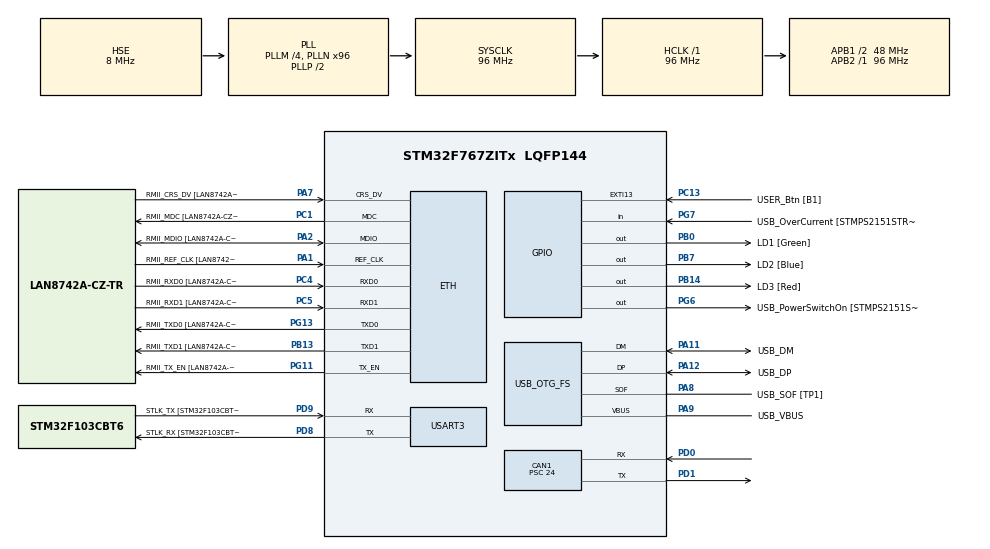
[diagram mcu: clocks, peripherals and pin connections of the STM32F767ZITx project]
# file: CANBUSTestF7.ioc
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Mcu.Family=STM32F7
RCC.CortexFreq_Value=96000000
PG6.Signal=GPIO_Output
PB14.GPIO_Label=LD3 [Red]
PG6.GPIO_Label=USB_PowerSwitchOn [STMPS2151STR_EN]
PA14.GPIO_Label=TCK
RCC.SYSCLKSourceVirtual=RCC_SYSCLKSOURCE_PLLCLK
PA11.Mode=Device_Only
PB0.GPIO_Label=LD1 [Green]
PC14/OSC32_IN.Mode=LSE-External-Oscillator
PC5.Mode=RMII
PC13.GPIO_Label=USER_Btn [B1]
PB13.GPIO_Label=RMII_TXD1 [LAN8742A-CZ-TR_TXD1]
PB13.Signal=ETH_TXD1
PG13.Signal=ETH_TXD0
PD9.Mode=Asynchronous
PG11.Signal=ETH_TX_EN
RCC.SYSCLKSource=RCC_SYSCLKSOURCE_PLLCLK
ProjectManager.StackSize=0x400
USART3.VirtualMode-Asynchronous=VM_ASYNC
PA12.Signal=USB_OTG_FS_DP
ETH.PHY_Value=0
PH0/OSC_IN.Mode=HSE-External-Clock-Source
RCC.HCLKFreq_Value=96000000
RCC.APB2TimFreq_Value=96000000
PH1/OSC_OUT.Signal=RCC_OSC_OUT
PD0.Signal=CAN1_RX
PD8.Signal=USART3_TX
RCC.AHBFreq_Value=96000000
RCC.HSE_VALUE=8000000
RCC.PLLMUL=RCC_PLL_MUL9
PC4.GPIO_Label=RMII_RXD0 [LAN8742A-CZ-TR_RXD0]
PA14.Mode=Serial_Wire
NVIC.TIM2_IRQn=true\:0\:0\:false\:false\:true\:true\:true
PA10.GPIO_Label=USB_ID
PB7.Signal=GPIO_Output
PA8.Signal=USB_OTG_FS_SOF
PG13.Mode=RMII
ETH.PHY_Name=LAN8742A_PHY_ADDRESS
PH1/OSC_OUT.Mode=HSE-External-Clock-Source
PB7.GPIO_Label=LD2 [Blue]
CAN1.Prescaler=24
Mcu.Package=LQFP144
TIM2.Prescaler=48000
PC14/OSC32_IN.Signal=RCC_OSC32_IN
PA2.GPIO_Label=RMII_MDIO [LAN8742A-CZ-TR_MDIO]
PA10.Signal=USB_OTG_FS_ID
USB_OTG_FS.VirtualMode=Device_Only
RCC.APB1TimFreq_Value=96000000
PG11.GPIO_Label=RMII_TX_EN [LAN8742A-CZ-TR_TXEN]
PC5.Signal=ETH_RXD1
PB13.Mode=RMII
PC4.Mode=RMII
CAN1.CalculateTimeQuantum=500.0
PB3.GPIO_Label=SWO
PA7.Mode=RMII
PG7.Signal=GPIO_Input
PD9.GPIO_Label=STLK_TX [STM32F103CBT6_PA2]
PC13.Signal=GPXTI13
PA9.GPIO_Label=USB_VBUS
PC4.Signal=ETH_RXD0
PD1.Signal=CAN1_TX
PA11.GPIO_Label=USB_DM
PD9.Signal=USART3_RX
RCC.APB1CLKDivider=RCC_HCLK_DIV2
PG13.GPIO_Label=RMII_TXD0 [LAN8742A-CZ-TR_TXD0]
ETH.PhyAddress=0
PA12.GPIO_Label=USB_DP
PD8.GPIO_Label=STLK_RX [STM32F103CBT6_PA3]
PA13.Signal=SYS_JTMS-SWDIO
PA9.Mode=Activate_VBUS
PA8.GPIO_Label=USB_SOF [TP1]
CAN1.BS2=CAN_BS2_4TQ
CAN1.BS1=CAN_BS1_11TQ
ProjectManager.TargetToolchain=TrueSTUDIO
PA9.Signal=USB_OTG_FS_VBUS
RCC.USBFreq_Value=48000000
PD8.Mode=Asynchronous
PA1.Signal=ETH_REF_CLK
PB14.Signal=GPIO_Output
board=NUCLEO-F767ZI
RCC.VCOOutputFreq_Value=192000000
PD1.Mode=Master
PH0/OSC_IN.Signal=RCC_OSC_IN
RCC.APB2Freq_Value=96000000
PA1.Mode=RMII
RCC.PRESCALERUSB=RCC_USBCLKSOURCE_PLL_DIV1_5
VP_TIM2_VS_ClockSourceINT.Mode=Internal
PG7.GPIO_Label=USB_OverCurrent [STMPS2151STR_FAULT]
PA1.GPIO_Label=RMII_REF_CLK [LAN8742A-CZ-TR_REFCLK0]
PC1.GPIO_Label=RMII_MDC [LAN8742A-CZ-TR_MDC]
TIM2.Period=1
PA13.Mode=Serial_Wire
Mcu.Name=STM32F767ZITx
PD0.Mode=Master
PA2.Signal=ETH_MDIO
PA13.GPIO_Label=TMS
CAN1.SJW=CAN_SJW_3TQ
RCC.48MHZClocksFreq_Value=24000000
PB3.Signal=SYS_JTDO-SWO
RCC.SYSCLKFreq_VALUE=96000000
ETH.MediaInterface=ETH_MEDIA_INTERFACE_RMII
PA7.GPIO_Label=RMII_CRS_DV [LAN8742A-CZ-TR_CRS_DV]
PA12.Mode=Device_Only
PC5.GPIO_Label=RMII_RXD1 [LAN8742A-CZ-TR_RXD1]
PC15/OSC32_OUT.Mode=LSE-External-Oscillator
PG11.Mode=RMII
PA11.Signal=USB_OTG_FS_DM
PA14.Signal=SYS_JTCK-SWCLK
ProjectManager.HeapSize=0x200
RCC.HSI_VALUE=16000000
PH0/OSC_IN.GPIO_Label=MCO [STM32F103CBT6_PA8]
RCC.PLLQ=4
NVIC.PriorityGroup=NVIC_PRIORITYGROUP_4
RCC.PLLM=4
RCC.PLLN=96
PA2.Mode=RMII
PC15/OSC32_OUT.Signal=RCC_OSC32_OUT
PA8.Mode=Activate_SOF_FS
RCC.APB1Freq_Value=48000000
PB0.Signal=GPIO_Output
PC1.Signal=ETH_MDC
NVIC.CAN1_RX0_IRQn=true\:0\:0\:false\:false\:true\:true\:true
PC1.Mode=RMII
PA7.Signal=ETH_CRS_DV

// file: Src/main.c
/* USER CODE BEGIN Header */
/**
  ******************************************************************************
  * @file           : main.c
  * @brief          : Main program body
  ******************************************************************************
  * @attention
  *
  * <h2><center>&copy; Copyright (c) 2020 STMicroelectronics.
  * All rights reserved.</center></h2>
  *
  * This software component is licensed by ST under BSD 3-Clause license,
  * the "License"; You may not use this file except in compliance with the
  * License. You may obtain a copy of the License at:
  *                        opensource.org/licenses/BSD-3-Clause
  *
  ******************************************************************************
  */
/* USER CODE END Header */

#include "main.h"

/* USER CODE BEGIN Includes */
#include "timeout.h"
/* USER CODE END Includes */

CAN_HandleTypeDef hcan1;

ETH_HandleTypeDef heth;

TIM_HandleTypeDef htim2;

UART_HandleTypeDef huart3;

PCD_HandleTypeDef hpcd_USB_OTG_FS;

void SystemClock_Config(void);
static void MX_GPIO_Init(void);
static void MX_CAN1_Init(void);
static void MX_ETH_Init(void);
static void MX_TIM2_Init(void);
static void MX_USART3_UART_Init(void);
static void MX_USB_OTG_FS_PCD_Init(void);
/* USER CODE BEGIN PFP */
void canBusTransmit(void);
void canRecieveData(void);
/* USER CODE END PFP */

int main(void)
{

  /* MCU Configuration--------------------------------------------------------*/

  /* Reset of all peripherals, Initializes the Flash interface and the Systick. */
  HAL_Init();

  /* Configure the system clock */
  SystemClock_Config();

  /* Initialize all configured peripherals */
  MX_GPIO_Init();
  MX_CAN1_Init();
  MX_ETH_Init();
  MX_TIM2_Init();
  MX_USART3_UART_Init();
  MX_USB_OTG_FS_PCD_Init();
  /* USER CODE BEGIN 2 */
  initTimeout(&htim2);
  /* USER CODE END 2 */

  /* Infinite loop */
  while (1)
  {

    /* USER CODE BEGIN 3 */
	  handleHeartbeatLED(GPIOB, GPIO_PIN_0);
//	  canBusTransmit();
	  if(HAL_GPIO_ReadPin(GPIOC, GPIO_PIN_13))
	  {
		  canRecieveData();
	  }
  }
  /* USER CODE END 3 */
}

void SystemClock_Config(void)
{
  RCC_OscInitTypeDef RCC_OscInitStruct = {0};
  RCC_ClkInitTypeDef RCC_ClkInitStruct = {0};
  RCC_PeriphCLKInitTypeDef PeriphClkInitStruct = {0};

  /** Configure LSE Drive Capability
  */
  HAL_PWR_EnableBkUpAccess();
  /** Configure the main internal regulator output voltage
  */
  __HAL_RCC_PWR_CLK_ENABLE();
  __HAL_PWR_VOLTAGESCALING_CONFIG(PWR_REGULATOR_VOLTAGE_SCALE3);
  /** Initializes the CPU, AHB and APB busses clocks
  */
  RCC_OscInitStruct.OscillatorType = RCC_OSCILLATORTYPE_HSE;
  RCC_OscInitStruct.HSEState = RCC_HSE_BYPASS;
  RCC_OscInitStruct.PLL.PLLState = RCC_PLL_ON;
  RCC_OscInitStruct.PLL.PLLSource = RCC_PLLSOURCE_HSE;
  RCC_OscInitStruct.PLL.PLLM = 4;
  RCC_OscInitStruct.PLL.PLLN = 96;
  RCC_OscInitStruct.PLL.PLLP = RCC_PLLP_DIV2;
  RCC_OscInitStruct.PLL.PLLQ = 4;
  if (HAL_RCC_OscConfig(&RCC_OscInitStruct) != HAL_OK)
  {
    Error_Handler();
  }
  /** Activate the Over-Drive mode
  */
  if (HAL_PWREx_EnableOverDrive() != HAL_OK)
  {
    Error_Handler();
  }
  /** Initializes the CPU, AHB and APB busses clocks
  */
  RCC_ClkInitStruct.ClockType = RCC_CLOCKTYPE_HCLK|RCC_CLOCKTYPE_SYSCLK
                              |RCC_CLOCKTYPE_PCLK1|RCC_CLOCKTYPE_PCLK2;
  RCC_ClkInitStruct.SYSCLKSource = RCC_SYSCLKSOURCE_PLLCLK;
  RCC_ClkInitStruct.AHBCLKDivider = RCC_SYSCLK_DIV1;
  RCC_ClkInitStruct.APB1CLKDivider = RCC_HCLK_DIV2;
  RCC_ClkInitStruct.APB2CLKDivider = RCC_HCLK_DIV1;

  if (HAL_RCC_ClockConfig(&RCC_ClkInitStruct, FLASH_LATENCY_3) != HAL_OK)
  {
    Error_Handler();
  }
  PeriphClkInitStruct.PeriphClockSelection = RCC_PERIPHCLK_USART3|RCC_PERIPHCLK_CLK48;
  PeriphClkInitStruct.Usart3ClockSelection = RCC_USART3CLKSOURCE_PCLK1;
  PeriphClkInitStruct.Clk48ClockSelection = RCC_CLK48SOURCE_PLL;
  if (HAL_RCCEx_PeriphCLKConfig(&PeriphClkInitStruct) != HAL_OK)
  {
    Error_Handler();
  }
}

static void MX_CAN1_Init(void)
{

  /* USER CODE BEGIN CAN1_Init 0 */
	HAL_CAN_MspInit(&hcan1);
  /* USER CODE END CAN1_Init 0 */

  hcan1.Instance = CAN1;
  hcan1.Init.Prescaler = 24;
  hcan1.Init.Mode = CAN_MODE_NORMAL;
  hcan1.Init.SyncJumpWidth = CAN_SJW_1TQ;
  hcan1.Init.TimeSeg1 = CAN_BS1_11TQ;
  hcan1.Init.TimeSeg2 = CAN_BS2_4TQ;
  hcan1.Init.TimeTriggeredMode = DISABLE;
  hcan1.Init.AutoBusOff = DISABLE;
  hcan1.Init.AutoWakeUp = DISABLE;
  hcan1.Init.AutoRetransmission = ENABLE;
  hcan1.Init.ReceiveFifoLocked = DISABLE;
  hcan1.Init.TransmitFifoPriority = DISABLE;
  while (HAL_CAN_Init(&hcan1) != HAL_OK)
  {
	  HAL_CAN_Init(&hcan1);
//    Error_Handler();
  }
  /* USER CODE BEGIN CAN1_Init 2 */
  CAN_FilterTypeDef filter;
  filter.FilterActivation = ENABLE;
  filter.FilterBank = 0;
  filter.FilterFIFOAssignment = CAN_RX_FIFO0;
  filter.FilterIdHigh = 0x0000;
  filter.FilterIdLow = 0x0000;
  filter.FilterMaskIdHigh = 0x0000;
  filter.FilterMaskIdLow = 0x0000;
  filter.FilterMode = CAN_FILTERMODE_IDMASK;
  filter.FilterScale = CAN_FILTERSCALE_16BIT;
  filter.SlaveStartFilterBank = 0;

  if(HAL_CAN_ConfigFilter(&hcan1, &filter) != HAL_OK)
  {
	  Error_Handler();
  }

  if(HAL_CAN_Start(&hcan1) != HAL_OK)
  {
	  Error_Handler();
  }
  /* USER CODE END CAN1_Init 2 */

}

static void MX_ETH_Init(void)
{

  heth.Instance = ETH;
  heth.Init.AutoNegotiation = ETH_AUTONEGOTIATION_ENABLE;
  heth.Init.PhyAddress = LAN8742A_PHY_ADDRESS;
  heth.Init.MACAddr[0] =   0x00;
  heth.Init.MACAddr[1] =   0x80;
  heth.Init.MACAddr[2] =   0xE1;
  heth.Init.MACAddr[3] =   0x00;
  heth.Init.MACAddr[4] =   0x00;
  heth.Init.MACAddr[5] =   0x00;
  heth.Init.RxMode = ETH_RXPOLLING_MODE;
  heth.Init.ChecksumMode = ETH_CHECKSUM_BY_HARDWARE;
  heth.Init.MediaInterface = ETH_MEDIA_INTERFACE_RMII;

  if (HAL_ETH_Init(&heth) != HAL_OK)
  {
    Error_Handler();
  }

}

static void MX_TIM2_Init(void)
{

  TIM_ClockConfigTypeDef sClockSourceConfig = {0};
  TIM_MasterConfigTypeDef sMasterConfig = {0};

  htim2.Instance = TIM2;
  htim2.Init.Prescaler = 48000;
  htim2.Init.CounterMode = TIM_COUNTERMODE_UP;
  htim2.Init.Period = 1;
  htim2.Init.ClockDivision = TIM_CLOCKDIVISION_DIV1;
  htim2.Init.AutoReloadPreload = TIM_AUTORELOAD_PRELOAD_DISABLE;
  if (HAL_TIM_Base_Init(&htim2) != HAL_OK)
  {
    Error_Handler();
  }
  sClockSourceConfig.ClockSource = TIM_CLOCKSOURCE_INTERNAL;
  if (HAL_TIM_ConfigClockSource(&htim2, &sClockSourceConfig) != HAL_OK)
  {
    Error_Handler();
  }
  sMasterConfig.MasterOutputTrigger = TIM_TRGO_RESET;
  sMasterConfig.MasterSlaveMode = TIM_MASTERSLAVEMODE_DISABLE;
  if (HAL_TIMEx_MasterConfigSynchronization(&htim2, &sMasterConfig) != HAL_OK)
  {
    Error_Handler();
  }

}

static void MX_USART3_UART_Init(void)
{

  huart3.Instance = USART3;
  huart3.Init.BaudRate = 115200;
  huart3.Init.WordLength = UART_WORDLENGTH_8B;
  huart3.Init.StopBits = UART_STOPBITS_1;
  huart3.Init.Parity = UART_PARITY_NONE;
  huart3.Init.Mode = UART_MODE_TX_RX;
  huart3.Init.HwFlowCtl = UART_HWCONTROL_NONE;
  huart3.Init.OverSampling = UART_OVERSAMPLING_16;
  huart3.Init.OneBitSampling = UART_ONE_BIT_SAMPLE_DISABLE;
  huart3.AdvancedInit.AdvFeatureInit = UART_ADVFEATURE_NO_INIT;
  if (HAL_UART_Init(&huart3) != HAL_OK)
  {
    Error_Handler();
  }

}

static void MX_USB_OTG_FS_PCD_Init(void)
{

  hpcd_USB_OTG_FS.Instance = USB_OTG_FS;
  hpcd_USB_OTG_FS.Init.dev_endpoints = 6;
  hpcd_USB_OTG_FS.Init.speed = PCD_SPEED_FULL;
  hpcd_USB_OTG_FS.Init.dma_enable = DISABLE;
  hpcd_USB_OTG_FS.Init.phy_itface = PCD_PHY_EMBEDDED;
  hpcd_USB_OTG_FS.Init.Sof_enable = ENABLE;
  hpcd_USB_OTG_FS.Init.low_power_enable = DISABLE;
  hpcd_USB_OTG_FS.Init.lpm_enable = DISABLE;
  hpcd_USB_OTG_FS.Init.vbus_sensing_enable = ENABLE;
  hpcd_USB_OTG_FS.Init.use_dedicated_ep1 = DISABLE;
  if (HAL_PCD_Init(&hpcd_USB_OTG_FS) != HAL_OK)
  {
    Error_Handler();
  }

}

static void MX_GPIO_Init(void)
{
  GPIO_InitTypeDef GPIO_InitStruct = {0};

  /* GPIO Ports Clock Enable */
  __HAL_RCC_GPIOC_CLK_ENABLE();
  __HAL_RCC_GPIOH_CLK_ENABLE();
  __HAL_RCC_GPIOA_CLK_ENABLE();
  __HAL_RCC_GPIOB_CLK_ENABLE();
  __HAL_RCC_GPIOD_CLK_ENABLE();
  __HAL_RCC_GPIOG_CLK_ENABLE();

  /*Configure GPIO pin Output Level */
  HAL_GPIO_WritePin(GPIOB, LD1_Pin|LD3_Pin|LD2_Pin, GPIO_PIN_RESET);

  /*Configure GPIO pin Output Level */
  HAL_GPIO_WritePin(USB_PowerSwitchOn_GPIO_Port, USB_PowerSwitchOn_Pin, GPIO_PIN_RESET);

  /*Configure GPIO pin : USER_Btn_Pin */
  GPIO_InitStruct.Pin = USER_Btn_Pin;
  GPIO_InitStruct.Mode = GPIO_MODE_IT_RISING;
  GPIO_InitStruct.Pull = GPIO_NOPULL;
  HAL_GPIO_Init(USER_Btn_GPIO_Port, &GPIO_InitStruct);

  /*Configure GPIO pins : LD1_Pin LD3_Pin LD2_Pin */
  GPIO_InitStruct.Pin = LD1_Pin|LD3_Pin|LD2_Pin;
  GPIO_InitStruct.Mode = GPIO_MODE_OUTPUT_PP;
  GPIO_InitStruct.Pull = GPIO_NOPULL;
  GPIO_InitStruct.Speed = GPIO_SPEED_FREQ_LOW;
  HAL_GPIO_Init(GPIOB, &GPIO_InitStruct);

  /*Configure GPIO pin : USB_PowerSwitchOn_Pin */
  GPIO_InitStruct.Pin = USB_PowerSwitchOn_Pin;
  GPIO_InitStruct.Mode = GPIO_MODE_OUTPUT_PP;
  GPIO_InitStruct.Pull = GPIO_NOPULL;
  GPIO_InitStruct.Speed = GPIO_SPEED_FREQ_LOW;
  HAL_GPIO_Init(USB_PowerSwitchOn_GPIO_Port, &GPIO_InitStruct);

  /*Configure GPIO pin : USB_OverCurrent_Pin */
  GPIO_InitStruct.Pin = USB_OverCurrent_Pin;
  GPIO_InitStruct.Mode = GPIO_MODE_INPUT;
  GPIO_InitStruct.Pull = GPIO_NOPULL;
  HAL_GPIO_Init(USB_OverCurrent_GPIO_Port, &GPIO_InitStruct);

}

/* USER CODE BEGIN 4 */
void canBusTransmit(void)
{
	uint8_t messageToSend[8] = {0xAB, 0xCD, 0xAB, 0xCD, 0xAB, 0xCD, 0xAB, 0xCD};

	CAN_TxHeaderTypeDef TxHeader;

	uint32_t TxMailbox;

	TxHeader.DLC = 8;
	TxHeader.StdId = 0x1D0;
//	TxHeader.ExtId = 0x1D0FDDF;
	TxHeader.IDE = CAN_ID_STD;
	TxHeader.RTR = CAN_RTR_DATA;

	if(HAL_CAN_AddTxMessage(&hcan1, &TxHeader, messageToSend, &TxMailbox) != HAL_OK)
	{
		Error_Handler();
	}

//	while( HAL_CAN_IsTxMessagePending(&hcan1, TxMailbox));

	HAL_GPIO_TogglePin (GPIOB, GPIO_PIN_7);
}

void canRecieveData(void)
{
	CAN_RxHeaderTypeDef RxHeader;
	uint8_t canMessageReceived[8];

	while(!HAL_CAN_GetRxFifoFillLevel(&hcan1, CAN_RX_FIFO0));

	if(HAL_CAN_GetRxMessage(&hcan1, CAN_RX_FIFO0, &RxHeader, canMessageReceived) != HAL_OK)
	{
		Error_Handler();
	}

	if(canMessageReceived[0] == 0xAB)
	{
		HAL_GPIO_TogglePin (GPIOB, GPIO_PIN_7);
	}
}
/* USER CODE END 4 */

void Error_Handler(void)
{
}

/************************ (C) COPYRIGHT STMicroelectronics *****END OF FILE****/
